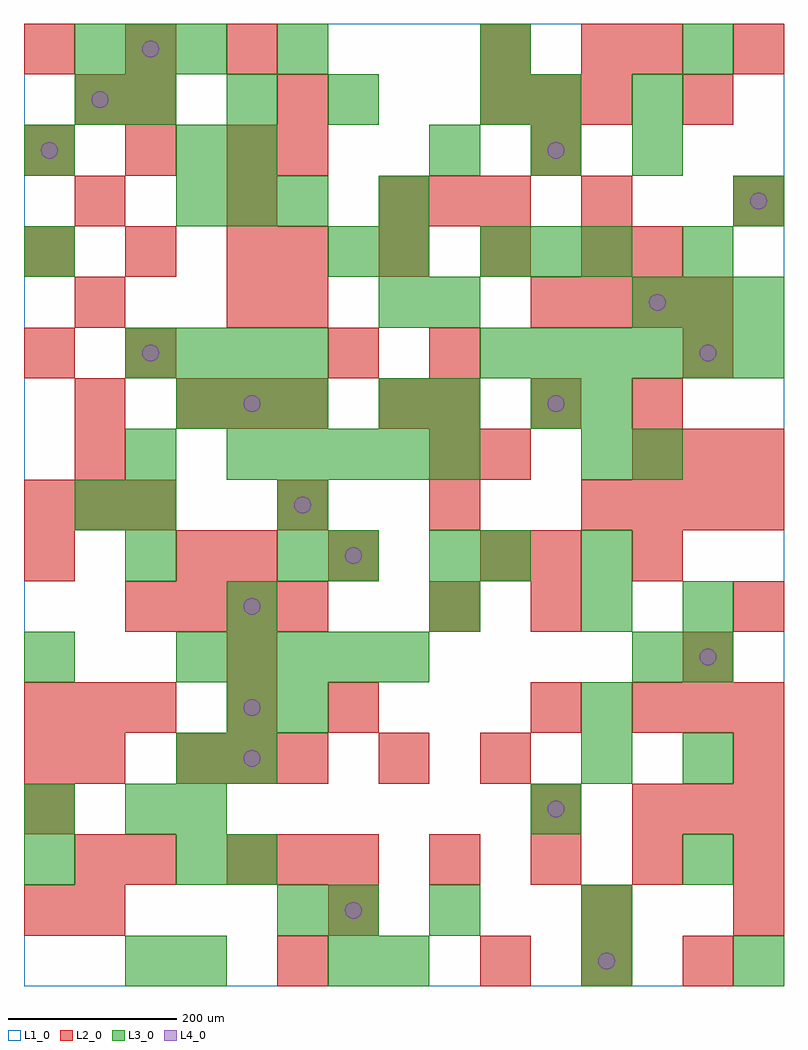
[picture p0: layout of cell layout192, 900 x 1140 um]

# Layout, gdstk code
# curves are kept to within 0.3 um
import gdstk
lib = gdstk.Library(unit=1e-6, precision=1e-09)
def R(c, l, rs):  # rectangles x0, y0, x1, y1
    for r in rs: c.add(gdstk.rectangle(r[:2], r[2:], *l))
def A(c, l, x, y, w, h, nx, ny, dx, dy):  # array of equal rectangles
    R(c, l, [(x+i*dx, y+j*dy, x+i*dx+w, y+j*dy+h) for i in range(nx) for j in range(ny)])
def P(c, l, *ps):  # polygons
    for p in ps: c.add(gdstk.Polygon(p, *l))
L1_0 = (1, 0)
L2_0 = (2, 0)
L3_0 = (3, 0)
L4_0 = (4, 0)

layout192 = lib.new_cell('layout192')
R(layout192, L1_0, [(0,0,900,1140)])
A(layout192, L2_0, 540, 0, 60, 60, 3, 1, 120, 0)
A(layout192, L2_0, 60, 60, 60, 60, 3, 1, 300, 0)
A(layout192, L2_0, 840, 60, 60, 60, 1, 3, 0, 180)
A(layout192, L2_0, 240, 120, 60, 60, 3, 1, 60, 0)
A(layout192, L2_0, 480, 120, 60, 60, 4, 1, 120, 0)
A(layout192, L2_0, 600, 180, 60, 60, 1, 3, 0, 120)
A(layout192, L2_0, 720, 180, 60, 60, 3, 2, 60, 120)
A(layout192, L2_0, 0, 240, 60, 60, 1, 3, 0, 240)
A(layout192, L2_0, 180, 240, 60, 60, 3, 2, 60, 420)
A(layout192, L2_0, 0, 300, 60, 60, 3, 2, 60, 240)
A(layout192, L2_0, 120, 420, 60, 60, 4, 1, 60, 0)
A(layout192, L2_0, 300, 540, 60, 60, 3, 1, 180, 0)
A(layout192, L2_0, 720, 540, 60, 60, 3, 2, 60, 60)
A(layout192, L2_0, 480, 660, 60, 60, 3, 1, 120, 0)
A(layout192, L2_0, 600, 780, 60, 60, 4, 1, 60, 0)
A(layout192, L2_0, 0, 840, 60, 60, 3, 3, 120, 120)
A(layout192, L2_0, 300, 840, 60, 60, 4, 1, 120, 0)
A(layout192, L2_0, 60, 900, 60, 60, 3, 1, 180, 0)
A(layout192, L2_0, 540, 1020, 60, 60, 3, 1, 60, 0)
R(layout192, L2_0, [(300,0,360,60), (0,60,60,120), (60,120,120,180), (120,120,180,180), (0,180,60,240), (60,240,120,300), (420,240,480,300), (540,240,600,300), (240,300,300,360), (360,300,420,360), (240,360,300,420), (780,360,840,420), (480,420,540,480), (180,480,240,540), (240,480,300,540), (360,480,420,540), (540,480,600,540), (600,480,660,540), (720,480,780,540), (60,600,120,660), (480,600,540,660), (540,600,600,660), (60,660,120,720), (420,660,480,720), (120,720,180,780), (360,720,420,780), (480,720,540,780), (780,720,840,780), (60,780,120,840), (240,780,300,840), (300,780,360,840), (720,840,780,900), (480,900,540,960), (540,900,600,960), (660,900,720,960), (840,900,900,960), (300,960,360,1020), (600,960,660,1020), (60,1020,120,1080), (120,1020,180,1080), (300,1020,360,1080), (780,1020,840,1080), (540,1080,600,1140), (660,1080,720,1140), (720,1080,780,1140), (840,1080,900,1140)])
A(layout192, L3_0, 180, 120, 60, 60, 1, 3, 0, 60)
A(layout192, L3_0, 780, 120, 60, 60, 1, 3, 0, 120)
A(layout192, L3_0, 180, 360, 60, 60, 5, 1, 60, 0)
A(layout192, L3_0, 120, 480, 60, 60, 1, 3, 0, 60)
A(layout192, L3_0, 240, 600, 60, 60, 5, 1, 60, 0)
A(layout192, L3_0, 180, 660, 60, 60, 3, 2, 60, 240)
A(layout192, L3_0, 120, 720, 60, 60, 4, 1, 60, 0)
A(layout192, L3_0, 540, 720, 60, 60, 6, 1, 60, 0)
A(layout192, L3_0, 420, 780, 60, 60, 1, 3, 0, 60)
A(layout192, L3_0, 720, 780, 60, 60, 3, 1, 60, 0)
A(layout192, L3_0, 540, 840, 60, 60, 3, 1, 60, 0)
A(layout192, L3_0, 480, 960, 60, 60, 3, 1, 120, 0)
A(layout192, L3_0, 120, 1020, 60, 60, 3, 1, 120, 0)
A(layout192, L3_0, 60, 1080, 60, 60, 3, 1, 60, 0)
A(layout192, L3_0, 300, 1080, 60, 60, 3, 1, 240, 0)
R(layout192, L3_0, [(120,0,180,60), (180,0,240,60), (360,0,420,60), (420,0,480,60), (660,0,720,60), (840,0,900,60), (300,60,360,120), (360,60,420,120), (480,60,540,120), (660,60,720,120), (0,120,60,180), (240,120,300,180), (0,180,60,240), (120,180,180,240), (600,180,660,240), (240,240,300,300), (660,240,720,300), (240,300,300,360), (300,300,360,360), (660,300,720,360), (0,360,60,420), (720,360,780,420), (240,420,300,480), (480,420,540,480), (660,420,720,480), (780,420,840,480), (300,480,360,540), (360,480,420,540), (480,480,540,540), (540,480,600,540), (660,480,720,540), (60,540,120,600), (300,540,360,600), (660,600,720,660), (720,600,780,660), (420,660,480,720), (480,660,540,720), (600,660,660,720), (660,660,720,720), (480,780,540,840), (0,840,60,900), (360,840,420,900), (780,840,840,900), (840,900,900,960), (0,960,60,1020), (180,960,240,1020), (240,960,300,1020), (60,1020,120,1080), (540,1020,600,1080), (600,1020,660,1080), (720,1020,780,1080)])
P(layout192, L4_0, [(40,990),(39.239,993.827),(37.071,997.071),(33.827,999.239),(30,1000),(26.173,999.239),(22.929,997.071),(20.761,993.827),(20,990),(20.761,986.173),(22.929,982.929),(26.173,980.761),(30,980),(33.827,980.761),(37.071,982.929),(39.239,986.173)],
  [(100,1050),(99.239,1053.827),(97.071,1057.071),(93.827,1059.239),(90,1060),(86.173,1059.239),(82.929,1057.071),(80.761,1053.827),(80,1050),(80.761,1046.173),(82.929,1042.929),(86.173,1040.761),(90,1040),(93.827,1040.761),(97.071,1042.929),(99.239,1046.173)],
  [(160,750),(159.239,753.827),(157.071,757.071),(153.827,759.239),(150,760),(146.173,759.239),(142.929,757.071),(140.761,753.827),(140,750),(140.761,746.173),(142.929,742.929),(146.173,740.761),(150,740),(153.827,740.761),(157.071,742.929),(159.239,746.173)],
  [(160,1110),(159.239,1113.827),(157.071,1117.071),(153.827,1119.239),(150,1120),(146.173,1119.239),(142.929,1117.071),(140.761,1113.827),(140,1110),(140.761,1106.173),(142.929,1102.929),(146.173,1100.761),(150,1100),(153.827,1100.761),(157.071,1102.929),(159.239,1106.173)],
  [(280,270),(279.239,273.827),(277.071,277.071),(273.827,279.239),(270,280),(266.173,279.239),(262.929,277.071),(260.761,273.827),(260,270),(260.761,266.173),(262.929,262.929),(266.173,260.761),(270,260),(273.827,260.761),(277.071,262.929),(279.239,266.173)],
  [(280,330),(279.239,333.827),(277.071,337.071),(273.827,339.239),(270,340),(266.173,339.239),(262.929,337.071),(260.761,333.827),(260,330),(260.761,326.173),(262.929,322.929),(266.173,320.761),(270,320),(273.827,320.761),(277.071,322.929),(279.239,326.173)],
  [(280,450),(279.239,453.827),(277.071,457.071),(273.827,459.239),(270,460),(266.173,459.239),(262.929,457.071),(260.761,453.827),(260,450),(260.761,446.173),(262.929,442.929),(266.173,440.761),(270,440),(273.827,440.761),(277.071,442.929),(279.239,446.173)],
  [(280,690),(279.239,693.827),(277.071,697.071),(273.827,699.239),(270,700),(266.173,699.239),(262.929,697.071),(260.761,693.827),(260,690),(260.761,686.173),(262.929,682.929),(266.173,680.761),(270,680),(273.827,680.761),(277.071,682.929),(279.239,686.173)],
  [(340,570),(339.239,573.827),(337.071,577.071),(333.827,579.239),(330,580),(326.173,579.239),(322.929,577.071),(320.761,573.827),(320,570),(320.761,566.173),(322.929,562.929),(326.173,560.761),(330,560),(333.827,560.761),(337.071,562.929),(339.239,566.173)],
  [(400,90),(399.239,93.827),(397.071,97.071),(393.827,99.239),(390,100),(386.173,99.239),(382.929,97.071),(380.761,93.827),(380,90),(380.761,86.173),(382.929,82.929),(386.173,80.761),(390,80),(393.827,80.761),(397.071,82.929),(399.239,86.173)],
  [(400,510),(399.239,513.827),(397.071,517.071),(393.827,519.239),(390,520),(386.173,519.239),(382.929,517.071),(380.761,513.827),(380,510),(380.761,506.173),(382.929,502.929),(386.173,500.761),(390,500),(393.827,500.761),(397.071,502.929),(399.239,506.173)],
  [(640,210),(639.239,213.827),(637.071,217.071),(633.827,219.239),(630,220),(626.173,219.239),(622.929,217.071),(620.761,213.827),(620,210),(620.761,206.173),(622.929,202.929),(626.173,200.761),(630,200),(633.827,200.761),(637.071,202.929),(639.239,206.173)],
  [(640,690),(639.239,693.827),(637.071,697.071),(633.827,699.239),(630,700),(626.173,699.239),(622.929,697.071),(620.761,693.827),(620,690),(620.761,686.173),(622.929,682.929),(626.173,680.761),(630,680),(633.827,680.761),(637.071,682.929),(639.239,686.173)],
  [(640,990),(639.239,993.827),(637.071,997.071),(633.827,999.239),(630,1000),(626.173,999.239),(622.929,997.071),(620.761,993.827),(620,990),(620.761,986.173),(622.929,982.929),(626.173,980.761),(630,980),(633.827,980.761),(637.071,982.929),(639.239,986.173)],
  [(700,30),(699.239,33.827),(697.071,37.071),(693.827,39.239),(690,40),(686.173,39.239),(682.929,37.071),(680.761,33.827),(680,30),(680.761,26.173),(682.929,22.929),(686.173,20.761),(690,20),(693.827,20.761),(697.071,22.929),(699.239,26.173)],
  [(760,810),(759.239,813.827),(757.071,817.071),(753.827,819.239),(750,820),(746.173,819.239),(742.929,817.071),(740.761,813.827),(740,810),(740.761,806.173),(742.929,802.929),(746.173,800.761),(750,800),(753.827,800.761),(757.071,802.929),(759.239,806.173)],
  [(820,390),(819.239,393.827),(817.071,397.071),(813.827,399.239),(810,400),(806.173,399.239),(802.929,397.071),(800.761,393.827),(800,390),(800.761,386.173),(802.929,382.929),(806.173,380.761),(810,380),(813.827,380.761),(817.071,382.929),(819.239,386.173)],
  [(820,750),(819.239,753.827),(817.071,757.071),(813.827,759.239),(810,760),(806.173,759.239),(802.929,757.071),(800.761,753.827),(800,750),(800.761,746.173),(802.929,742.929),(806.173,740.761),(810,740),(813.827,740.761),(817.071,742.929),(819.239,746.173)],
  [(880,930),(879.239,933.827),(877.071,937.071),(873.827,939.239),(870,940),(866.173,939.239),(862.929,937.071),(860.761,933.827),(860,930),(860.761,926.173),(862.929,922.929),(866.173,920.761),(870,920),(873.827,920.761),(877.071,922.929),(879.239,926.173)])

lib.write_gds('layout192.gds')
